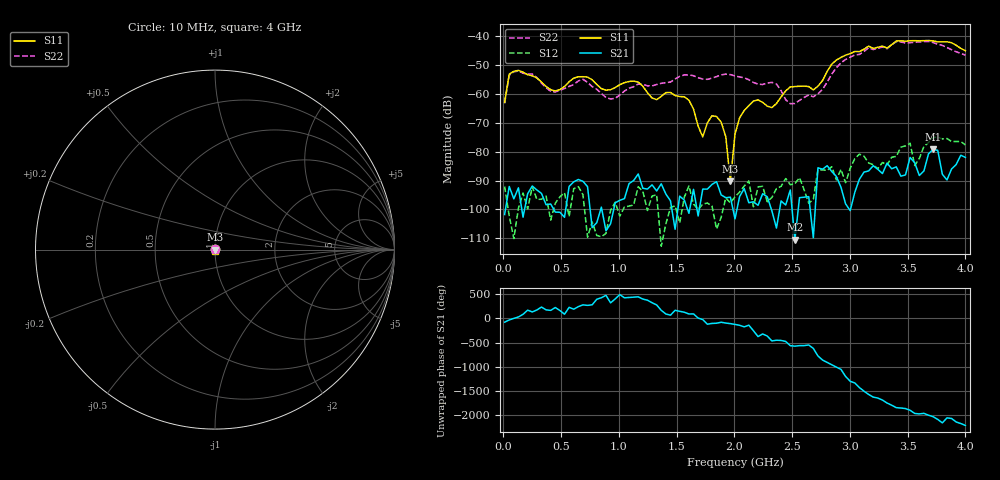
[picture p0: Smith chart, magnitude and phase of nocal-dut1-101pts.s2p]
! PocketVna 1.81  pocketvna.com
! Live measurements ((Reflection-S11, Transmission-S21, Transmission-S12, Reflection-S22) Linear 10000000-4000000000/101 non-calibrated)
# GHz S MA R 50
! GHz  |S11|  <S11  |S21|  <S21  |S12|  <S12  |S22|  <S22
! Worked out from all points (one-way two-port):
!   101 points, 10 MHz to 4 GHz, reference 50 ohm
!   highest |S21| = -79.27 dB at 3.721 GHz (marker M1); lowest = -110.5 dB at 2.524 GHz (marker M2)
!   lowest |S11| = -90.3 dB at 1.965 GHz (marker M3), VSWR 1.00, Z = 50 + j0.000635 ohm
!   |S11| at or under -10 dB: start of sweep to end of sweep
!   |S22| runs from -63.4 to -41.9 dB; largest |S21 - S12| = 0.00022
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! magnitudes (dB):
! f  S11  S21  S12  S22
! 10 MHz  -63.0  -101.8  -92.1  -63.3
! 49.9 MHz  -53.2  -92.1  -102.2  -53.6
! 89.8 MHz  -52.2  -96.3  -110.1  -52.4
! 448.9 MHz  -59.0  -100.9  -97.9  -59.4
! 688.3 MHz  -54.1  -90.3  -94.9  -55.0
! 927.7 MHz  -58.6  -104.9  -100.3  -61.8
! 1.127 GHz  -55.6  -90.0  -98.5  -57.6
! 1.367 GHz  -60.9  -91.1  -112.7  -56.4
! 1.606 GHz  -62.2  -101.3  -91.9  -53.5
! 1.726 GHz  -74.9  -93.0  -98.2  -54.9
! 1.845 GHz  -67.9  -90.4  -106.8  -54.1
! 1.965 GHz  -90.3  -95.8  -97.7  -53.4
! 2.005 GHz  -73.9  -103.3  -95.6  -53.9
! 2.165 GHz  -62.5  -97.3  -99.1  -56.1
! 2.324 GHz  -64.8  -100.5  -95.9  -56.1
! 2.524 GHz  -57.5  -110.5  -91.1  -63.4
! 2.683 GHz  -58.7  -109.8  -96.5  -61.1
! 2.923 GHz  -47.4  -92.3  -86.1  -49.3
! 3.362 GHz  -43.0  -85.9  -81.9  -43.1
! 3.601 GHz  -41.7  -88.3  -82.4  -42.1
! 3.721 GHz  -41.7  -79.3  -75.1  -42.3
! 4 GHz  -45.1  -82.0  -77.7  -46.6
